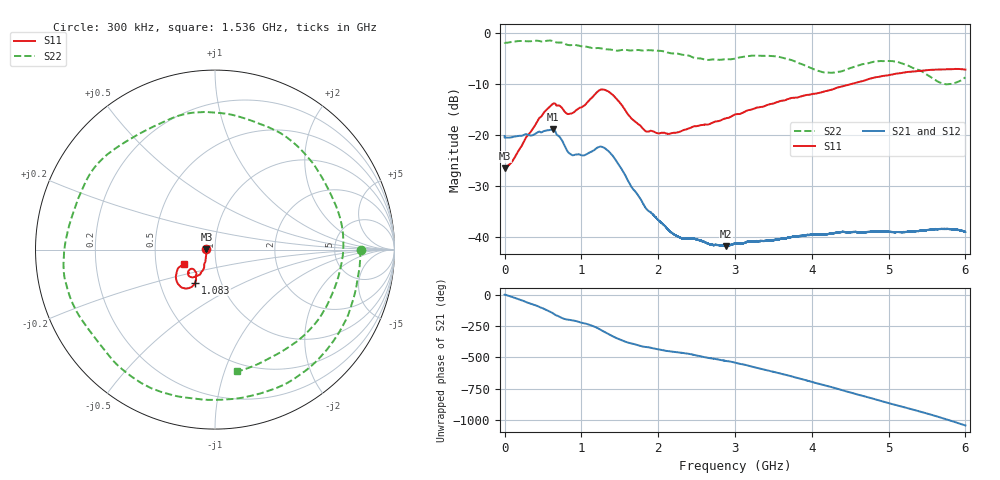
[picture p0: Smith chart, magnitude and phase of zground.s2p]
!  8/6/2020  01:37:10
! Ref Plane: 0.000 mm
# MHZ S MA R  50
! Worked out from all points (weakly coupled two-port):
!   10001 points, 300 kHz to 6 GHz, reference 50 ohm
!   highest |S21| = -18.83 dB at 628.5 MHz (marker M1); lowest = -41.7 dB at 2.879 GHz (marker M2)
!   lowest |S11| = -26.5 dB at 300 kHz (marker M3), VSWR 1.10, Z = 45.5 + j0.114 ohm
!   |S11| at or under -10 dB: start of sweep to 4.495 GHz
!   |S22| runs from -10.0 to -1.4 dB; largest |S21 - S12| = 0.0022
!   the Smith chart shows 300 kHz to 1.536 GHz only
!   S11 on the Smith chart (normalised r, x): 300 kHz: 0.91, +0.00; 1.083 GHz: 0.75, -0.29; 1.536 GHz: 0.69, -0.12
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0.3  0.04747 178.5  0.09874 -0.9  0.09652 -0.8  0.816 -0.3
317.0842  0.1032 -125.5  0.1007 -68.6  0.1009 -68.6  0.8379 -91.3
628.4686  0.2036 -130.9  0.1144 -148.4  0.1143 -148.5  0.8396 179.9
1000.45  0.1879 -124.4  0.06373 136.6  0.06375 136.6  0.7469 74.6
1083.246  0.2137 -120.8  0.06639 124.1  0.06645 124.0  0.7361 50.8
1284.236  0.2815 -136.0  0.07639 68.3  0.07639 68.2  0.7067 -8.4
1535.623  0.1937 -154.9  0.04522 -5.7  0.04527 -5.8  0.6892 -80.0
1793.61  0.1182 -139.6  0.02215 -52.2  0.02219 -52.1  0.68 -149.5
2000.6  0.1046 -118.1  0.01476 -75.2  0.01478 -75.3  0.6744 156.4
2254.987  0.1073 -94.4  0.0102 -98.9  0.01024 -99.0  0.6332 89.1
2521.374  0.1242 -77.7  0.009475 -126.9  0.009427 -127.1  0.5688 12.8
2878.956  0.1467 -57.9  0.008198 -167.3  0.008265 -167.4  0.5591 -95.1
3000.15  0.1602 -52.2  0.008679 179.1  0.008733 179.0  0.5666 -129.8
3240.738  0.1821 -44.5  0.009178 144.6  0.009196 144.7  0.6052 167.9
3530.523  0.2098 -36.4  0.009496 101.9  0.009476 101.5  0.5956 98.5
4000.3  0.2538 -25.8  0.01064 26.6  0.01068 26.6  0.4533 -25.1
4227.689  0.277 -19.4  0.01084 -10.4  0.01085 -10.4  0.4127 -99.6
4497.075  0.3164 -14.8  0.0112 -56.8  0.01128 -57.0  0.4563 175.5
5000.45  0.3896 -12.1  0.01138 -142.2  0.01133 -142.1  0.5365 52.6
5246.438  0.4188 -12.3  0.01132 177.8  0.01138 177.7  0.4862 -2.0
5520.624  0.4375 -12.1  0.01181 131.6  0.01182 131.7  0.3846 -75.1
6000  0.442 -17.1  0.01129 40.4  0.0113 40.2  0.3701 122.0
